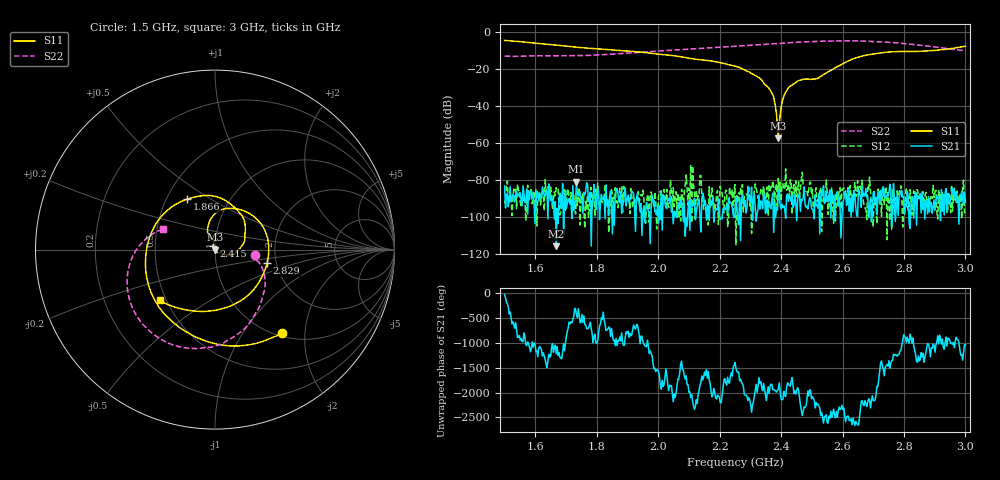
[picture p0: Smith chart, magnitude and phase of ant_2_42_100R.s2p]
! 1/1/2000 12:29:00 AM
! C:\DOCUMENTS AND SETTINGS\VECTORSTARUSER\DESKTOP\231101\ANT_2_42_100R.S2P
! CHANNEL.1
! TR.MEASUREMENT
! CORRECTED.DATA
# HZ S DB R 50.0
! FREQ.HZ  S11DB  S11A  S21DB  S21A  S12DB  S12A  S22DB  S22A
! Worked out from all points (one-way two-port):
!   501 points, 1.5 GHz to 3 GHz, reference 50 ohm
!   highest |S21| = -80.92 dB at 1.734 GHz (marker M1); lowest = -115.9 dB at 1.668 GHz (marker M2)
!   lowest |S11| = -57.5 dB at 2.391 GHz (marker M3), VSWR 1.00, Z = 49.9 + j0.0121 ohm
!   |S11| at or under -10 dB: 1.876 GHz to 2.888 GHz (1.012 GHz wide, 42.5 % of centre)
!   |S22| runs from -13.1 to -4.7 dB; largest |S21 - S12| = 0.00024
!   S11 on the Smith chart (normalised r, x): 1.5 GHz: 1.05, -1.52; 1.866 GHz: 0.63, +0.40; 2.415 GHz: 0.98, +0.04; 2.829 GHz: 1.79, -0.30; 3 GHz: 0.46, -0.32
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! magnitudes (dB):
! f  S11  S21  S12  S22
! 1.5 GHz  -4.5  -83.4  -91.2  -13.0
! 1.668 GHz  -7.0  -115.9  -84.3  -12.8
! 1.734 GHz  -8.1  -80.9  -89.2  -12.7
! 1.752 GHz  -8.4  -90.1  -91.8  -12.7
! 1.866 GHz  -9.9  -84.7  -91.5  -11.8
! 2.001 GHz  -11.9  -103.4  -88.3  -10.2
! 2.082 GHz  -13.5  -102.8  -99.1  -9.3
! 2.109 GHz  -14.4  -93.4  -103.2  -9.0
! 2.121 GHz  -14.6  -101.7  -101.0  -8.9
! 2.25 GHz  -18.4  -99.2  -82.6  -7.7
! 2.328 GHz  -24.6  -88.2  -88.3  -6.7
! 2.358 GHz  -29.8  -94.0  -99.5  -6.4
! 2.376 GHz  -35.2  -108.5  -83.7  -6.3
! 2.391 GHz  -57.5  -85.4  -79.2  -6.1
! 2.406 GHz  -36.3  -95.1  -82.2  -6.0
! 2.415 GHz  -32.5  -100.8  -74.0  -5.9
! 2.454 GHz  -26.5  -90.1  -85.1  -5.4
! 2.502 GHz  -25.3  -96.2  -85.2  -5.1
! 2.637 GHz  -14.3  -85.9  -87.3  -4.7
! 2.751 GHz  -10.8  -87.2  -90.2  -5.5
! 2.829 GHz  -10.5  -90.5  -88.5  -6.6
! 3 GHz  -7.6  -92.1  -96.5  -10.1
